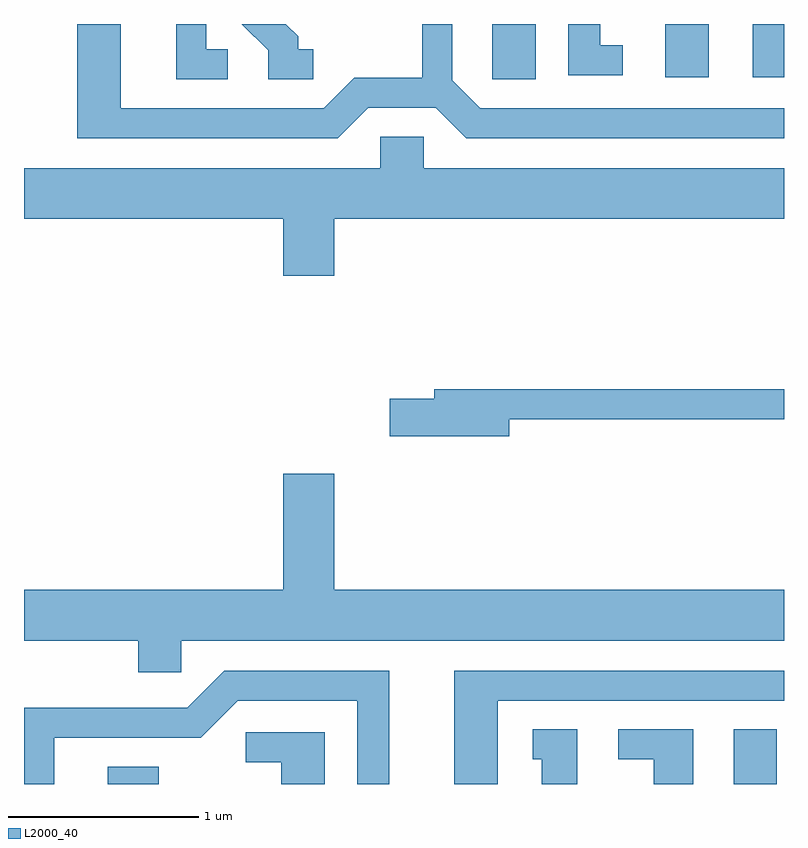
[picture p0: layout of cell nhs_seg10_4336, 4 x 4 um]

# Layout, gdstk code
import gdstk
lib = gdstk.Library(unit=1e-6, precision=1e-09)
def R(c, l, rs):  # rectangles x0, y0, x1, y1
    for r in rs: c.add(gdstk.rectangle(r[:2], r[2:], *l))
def P(c, l, *ps):  # polygons
    for p in ps: c.add(gdstk.Polygon(p, *l))
L2000_40 = (2000, 40)

nhs_seg10_4336 = lib.new_cell('nhs_seg10_4336')
R(nhs_seg10_4336, L2000_40, [(314.051,2086.522,314.319,2086.614), (317.346,2086.522,317.574,2086.809), (316.076,2090.231,316.304,2090.522), (316.986,2090.241,317.214,2090.522), (317.446,2090.241,317.611,2090.522)])
P(nhs_seg10_4336, L2000_40, [(315.422,2090.081),(315.779,2090.081),(315.939,2089.921),(317.611,2089.921),(317.611,2090.079),(316.012,2090.079),(315.864,2090.227),(315.864,2090.522),(315.706,2090.522),(315.706,2090.239),(315.349,2090.239),(315.189,2090.079),(314.119,2090.079),(314.119,2090.522),(313.891,2090.522),(313.891,2089.921),(315.262,2089.921)],
  [(314.683,2090.389),(314.569,2090.389),(314.569,2090.522),(314.411,2090.522),(314.411,2090.231),(314.683,2090.231)],
  [(315.133,2090.389),(315.054,2090.389),(315.054,2090.457),(314.989,2090.522),(314.758,2090.522),(314.896,2090.384),(314.896,2090.231),(315.133,2090.231)],
  [(316.763,2090.409),(316.644,2090.409),(316.644,2090.522),(316.476,2090.522),(316.476,2090.251),(316.763,2090.251)],
  [(315.244,2089.496),(317.611,2089.496),(317.611,2089.764),(315.714,2089.764),(315.714,2089.929),(315.486,2089.929),(315.486,2089.764),(313.611,2089.764),(313.611,2089.496),(314.976,2089.496),(314.976,2089.196),(315.244,2089.196)],
  [(316.164,2088.441),(317.611,2088.441),(317.611,2088.599),(315.771,2088.599),(315.771,2088.549),(315.536,2088.549),(315.536,2088.351),(316.164,2088.351)],
  [(314.439,2087.276),(317.611,2087.276),(317.611,2087.544),(315.244,2087.544),(315.244,2088.154),(314.976,2088.154),(314.976,2087.544),(313.611,2087.544),(313.611,2087.276),(314.211,2087.276),(314.211,2087.111),(314.439,2087.111)],
  [(313.769,2086.766),(314.542,2086.766),(314.737,2086.961),(315.366,2086.961),(315.366,2086.522),(315.534,2086.522),(315.534,2087.119),(314.664,2087.119),(314.469,2086.924),(313.611,2086.924),(313.611,2086.522),(313.769,2086.522)],
  [(316.104,2086.961),(317.611,2086.961),(317.611,2087.119),(315.876,2087.119),(315.876,2086.522),(316.104,2086.522)],
  [(317.134,2086.809),(316.738,2086.809),(316.738,2086.651),(316.926,2086.651),(316.926,2086.522),(317.134,2086.522)],
  [(316.524,2086.809),(316.288,2086.809),(316.288,2086.651),(316.336,2086.651),(316.336,2086.522),(316.524,2086.522)],
  [(315.194,2086.794),(314.778,2086.794),(314.778,2086.636),(314.966,2086.636),(314.966,2086.522),(315.194,2086.522)])

lib.write_gds('nhs_seg10_4336.gds')
